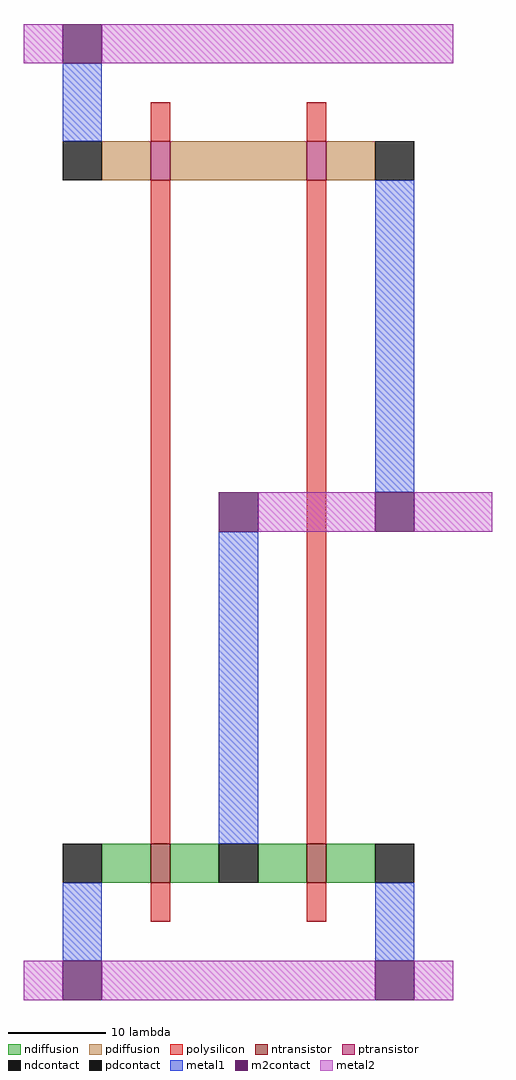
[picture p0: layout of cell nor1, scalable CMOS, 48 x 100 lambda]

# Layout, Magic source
magic
tech scmos
<< polysilicon >>
rect 17 36 19 40
rect 33 36 35 40
rect 17 -36 19 32
rect 33 -36 35 32
rect 17 -44 19 -40
rect 33 -44 35 -40
<< ndiffusion >>
rect 12 -40 17 -36
rect 19 -40 24 -36
rect 28 -40 33 -36
rect 35 -40 40 -36
<< pdiffusion >>
rect 12 32 17 36
rect 19 32 33 36
rect 35 32 40 36
<< metal1 >>
rect 8 36 12 44
rect 40 0 44 32
rect 24 -36 28 -4
rect 8 -48 12 -40
rect 40 -48 44 -40
<< metal2 >>
rect 4 44 8 48
rect 12 44 48 48
rect 28 -4 40 0
rect 44 -4 52 0
rect 4 -52 8 -48
rect 12 -52 40 -48
rect 44 -52 48 -48
<< ntransistor >>
rect 17 -40 19 -36
rect 33 -40 35 -36
<< ptransistor >>
rect 17 32 19 36
rect 33 32 35 36
<< ndcontact >>
rect 8 -40 12 -36
rect 24 -40 28 -36
rect 40 -40 44 -36
<< pdcontact >>
rect 8 32 12 36
rect 40 32 44 36
<< m2contact >>
rect 8 44 12 48
rect 24 -4 28 0
rect 40 -4 44 0
rect 8 -52 12 -48
rect 40 -52 44 -48
<< end >>
